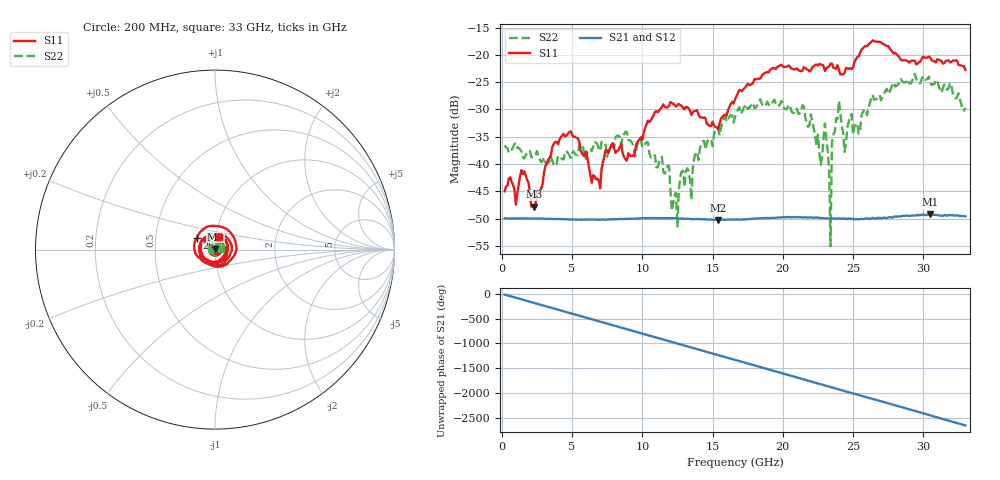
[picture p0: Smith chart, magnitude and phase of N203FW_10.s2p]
# GHZ S RI R 50
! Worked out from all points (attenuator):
!   329 points, 200 MHz to 33 GHz, reference 50 ohm
!   highest |S21| = -49.21 dB at 30.5 GHz (marker M1); lowest = -50.2 dB at 15.4 GHz (marker M2)
!   lowest |S11| = -47.8 dB at 2.3 GHz (marker M3), VSWR 1.01, Z = 50.1 + j0.397 ohm
!   |S11| at or under -10 dB: start of sweep to end of sweep
!   |S22| runs from -55.0 to -23.5 dB; largest |S21 - S12| = 8.9e-05
!   S11 on the Smith chart (normalised r, x): 200 MHz: 1.01, +0.00; 26 GHz: 0.81, +0.10; 33 GHz: 1.03, +0.14
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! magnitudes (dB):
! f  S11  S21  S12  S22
! 200 MHz  -45.0  -49.9  -49.9  -36.6
! 2.3 GHz  -47.8  -50.0  -50.0  -38.8
! 3.8 GHz  -36.0  -50.1  -50.0  -40.4
! 5.7 GHz  -38.0  -50.2  -50.1  -36.6
! 7 GHz  -44.5  -50.2  -50.2  -37.6
! 11.2 GHz  -30.2  -49.9  -49.9  -39.6
! 12.5 GHz  -29.2  -49.9  -49.9  -51.4
! 12.8 GHz  -29.3  -50.0  -49.9  -41.4
! 15.4 GHz  -33.6  -50.2  -50.2  -33.4
! 16.6 GHz  -28.2  -50.1  -50.1  -31.4
! 22.1 GHz  -22.3  -49.8  -49.8  -32.1
! 22.7 GHz  -21.8  -49.9  -49.8  -40.1
! 23 GHz  -23.0  -50.0  -49.9  -32.6
! 23.3 GHz  -22.1  -50.0  -49.9  -41.0
! 23.4 GHz  -21.6  -50.0  -50.0  -55.0
! 23.5 GHz  -21.6  -50.0  -49.9  -36.1
! 24 GHz  -22.8  -49.9  -50.0  -28.5
! 24.4 GHz  -23.3  -50.0  -49.9  -37.8
! 26 GHz  -18.4  -50.0  -49.9  -31.0
! 27.6 GHz  -18.8  -49.7  -49.7  -26.8
! 30.5 GHz  -20.5  -49.2  -49.3  -25.1
! 33 GHz  -22.8  -49.6  -49.6  -29.7
